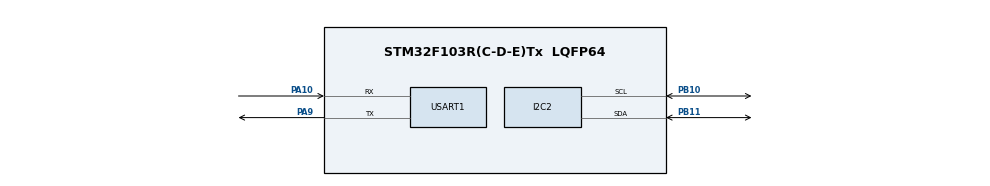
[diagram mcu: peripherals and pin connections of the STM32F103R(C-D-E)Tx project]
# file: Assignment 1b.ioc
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Mcu.Family=STM32F1
Mcu.Name=STM32F103R(C-D-E)Tx
Mcu.Package=LQFP64
NVIC.PriorityGroup=NVIC_PRIORITYGROUP_4
PA10.Mode=Asynchronous
PA10.Signal=USART1_RX
PA13.Mode=Serial_Wire
PA13.Signal=SYS_JTMS-SWDIO
PA14.Mode=Serial_Wire
PA14.Signal=SYS_JTCK-SWCLK
PA9.Mode=Asynchronous
PA9.Signal=USART1_TX
PB10.Mode=I2C
PB10.Signal=I2C2_SCL
PB11.Mode=I2C
PB11.Signal=I2C2_SDA
PD0-OSC_IN.Mode=HSE-External-Oscillator
PD0-OSC_IN.Signal=RCC_OSC_IN
PD1-OSC_OUT.Mode=HSE-External-Oscillator
PD1-OSC_OUT.Signal=RCC_OSC_OUT
ProjectManager.HeapSize=0x200
ProjectManager.StackSize=0x400
ProjectManager.TargetToolchain=STM32CubeIDE
RCC.APB1Freq_Value=8000000
RCC.APB2Freq_Value=8000000
USART1.VirtualMode=VM_ASYNC
board=custom

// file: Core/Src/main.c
/* USER CODE BEGIN Header */
/**
  ******************************************************************************
  * @file           : main.c
  * @brief          : Main program body
  ******************************************************************************
  * @attention
  *
  * Copyright (c) 2024 STMicroelectronics.
  * All rights reserved.
  *
  * This software is licensed under terms that can be found in the LICENSE file
  * in the root directory of this software component.
  * If no LICENSE file comes with this software, it is provided AS-IS.
  *
  ******************************************************************************
  */
/* USER CODE END Header */
#include "main.h"

/* USER CODE BEGIN Includes */
#include <stdio.h>
#include <stdlib.h>
#include <string.h>
/* USER CODE END Includes */

I2C_HandleTypeDef hi2c2;

UART_HandleTypeDef huart1;

/* USER CODE BEGIN PV */
#define ICM20607_ADDR 0x68 << 1
#define ACCEL_XOUT_H  0x3B
#define GYRO_XOUT_H   0x43
#define TEMP_OUT_H    0x41

uint8_t tx_buffer[64] = {'\0'};
uint8_t rx_buffer[14];

int16_t accel_x = 0;
int16_t accel_y = 0;
int16_t accel_z = 0;
int16_t temp = 0;
int16_t gyro_x = 0;
int16_t gyro_y = 0;
int16_t gyro_z = 0;
/* USER CODE END PV */

void SystemClock_Config(void);
static void MX_GPIO_Init(void);
static void MX_USART1_UART_Init(void);
static void MX_I2C2_Init(void);

int main(void)
{
	 uint8_t wake_up_cmd = 0x00;
		  HAL_I2C_Mem_Write(&hi2c2, ICM20607_ADDR, 0x6B, I2C_MEMADD_SIZE_8BIT, &wake_up_cmd, 1, HAL_MAX_DELAY);

		  // Read 14 bytes
		  HAL_I2C_Mem_Read(&hi2c2, ICM20607_ADDR, ACCEL_XOUT_H, I2C_MEMADD_SIZE_8BIT, rx_buffer, 14, HAL_MAX_DELAY);

		  accel_x = (rx_buffer[0] << 8) | rx_buffer[1];
		  accel_y = (rx_buffer[2] << 8) | rx_buffer[3];
		  accel_z = (rx_buffer[4] << 8) | rx_buffer[5];

		  temp = (rx_buffer[6] << 8) | rx_buffer[7];
		  float temp_c = (temp / 326.8) + 25.0;

		  gyro_x  = (rx_buffer[8] << 8) | rx_buffer[9];
		  gyro_y  = (rx_buffer[10] << 8) | rx_buffer[11];
		  gyro_z  = (rx_buffer[12] << 8) | rx_buffer[13];

		  sprintf(tx_buffer, "Ax: %d, Ay: %d, Az: %d\r\nT: %.2f C\r\nGx: %d, Gy: %d, Gz: %d\r\n",
		              accel_x, accel_y, accel_z, temp_c, gyro_x, gyro_y, gyro_z);

		  // UART
		  HAL_UART_Transmit(&huart1, (uint8_t*) tx_buffer, strlen(tx_buffer), 100);

		  HAL_Delay(500); // Delay for 500ms

  /* MCU Configuration--------------------------------------------------------*/

  /* Reset of all peripherals, Initializes the Flash interface and the Systick. */
  HAL_Init();

  /* Configure the system clock */
  SystemClock_Config();

  /* Initialize all configured peripherals */
  MX_GPIO_Init();
  MX_USART1_UART_Init();
  MX_I2C2_Init();

  /* Infinite loop */
  while (1)
  {

  }
}

void SystemClock_Config(void)
{
  RCC_OscInitTypeDef RCC_OscInitStruct = {0};
  RCC_ClkInitTypeDef RCC_ClkInitStruct = {0};

  /** Initializes the RCC Oscillators according to the specified parameters
  * in the RCC_OscInitTypeDef structure.
  */
  RCC_OscInitStruct.OscillatorType = RCC_OSCILLATORTYPE_HSI;
  RCC_OscInitStruct.HSIState = RCC_HSI_ON;
  RCC_OscInitStruct.HSICalibrationValue = RCC_HSICALIBRATION_DEFAULT;
  RCC_OscInitStruct.PLL.PLLState = RCC_PLL_NONE;
  if (HAL_RCC_OscConfig(&RCC_OscInitStruct) != HAL_OK)
  {
    Error_Handler();
  }

  /** Initializes the CPU, AHB and APB buses clocks
  */
  RCC_ClkInitStruct.ClockType = RCC_CLOCKTYPE_HCLK|RCC_CLOCKTYPE_SYSCLK
                              |RCC_CLOCKTYPE_PCLK1|RCC_CLOCKTYPE_PCLK2;
  RCC_ClkInitStruct.SYSCLKSource = RCC_SYSCLKSOURCE_HSI;
  RCC_ClkInitStruct.AHBCLKDivider = RCC_SYSCLK_DIV1;
  RCC_ClkInitStruct.APB1CLKDivider = RCC_HCLK_DIV1;
  RCC_ClkInitStruct.APB2CLKDivider = RCC_HCLK_DIV1;

  if (HAL_RCC_ClockConfig(&RCC_ClkInitStruct, FLASH_LATENCY_0) != HAL_OK)
  {
    Error_Handler();
  }
}

static void MX_I2C2_Init(void)
{

  hi2c2.Instance = I2C2;
  hi2c2.Init.ClockSpeed = 100000;
  hi2c2.Init.DutyCycle = I2C_DUTYCYCLE_2;
  hi2c2.Init.OwnAddress1 = 0;
  hi2c2.Init.AddressingMode = I2C_ADDRESSINGMODE_7BIT;
  hi2c2.Init.DualAddressMode = I2C_DUALADDRESS_DISABLE;
  hi2c2.Init.OwnAddress2 = 0;
  hi2c2.Init.GeneralCallMode = I2C_GENERALCALL_DISABLE;
  hi2c2.Init.NoStretchMode = I2C_NOSTRETCH_DISABLE;
  if (HAL_I2C_Init(&hi2c2) != HAL_OK)
  {
    Error_Handler();
  }

}

static void MX_USART1_UART_Init(void)
{

  huart1.Instance = USART1;
  huart1.Init.BaudRate = 115200;
  huart1.Init.WordLength = UART_WORDLENGTH_8B;
  huart1.Init.StopBits = UART_STOPBITS_1;
  huart1.Init.Parity = UART_PARITY_NONE;
  huart1.Init.Mode = UART_MODE_TX_RX;
  huart1.Init.HwFlowCtl = UART_HWCONTROL_NONE;
  huart1.Init.OverSampling = UART_OVERSAMPLING_16;
  if (HAL_UART_Init(&huart1) != HAL_OK)
  {
    Error_Handler();
  }

}

static void MX_GPIO_Init(void)
{

  /* GPIO Ports Clock Enable */
  __HAL_RCC_GPIOD_CLK_ENABLE();
  __HAL_RCC_GPIOB_CLK_ENABLE();
  __HAL_RCC_GPIOA_CLK_ENABLE();

}

void Error_Handler(void)
{
  __disable_irq();
  while (1)
  {
  }
}
